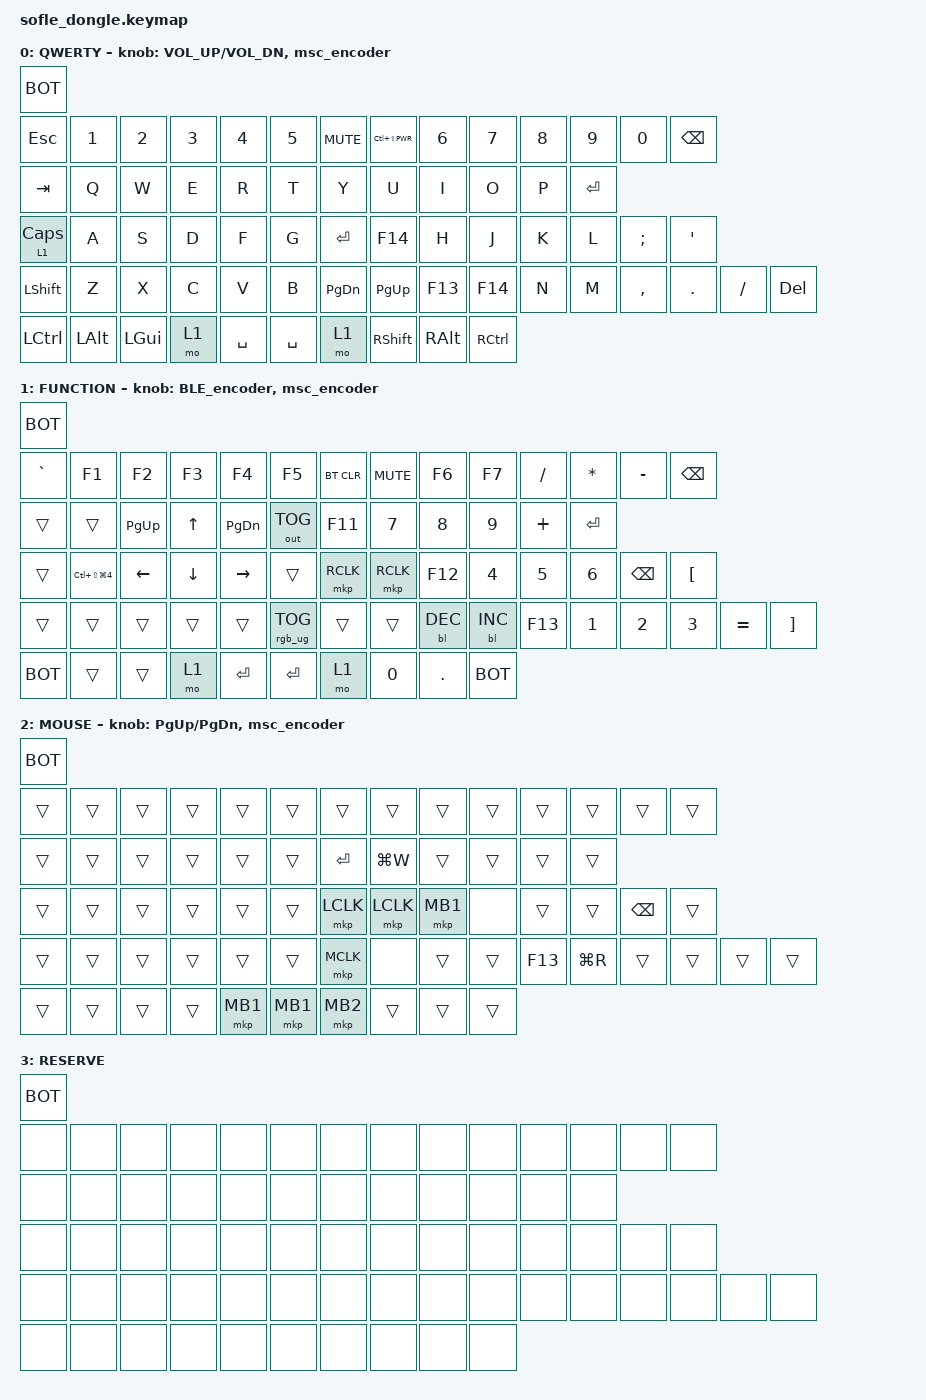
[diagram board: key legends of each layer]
/*
 * Copyright (c) 2025 ZitaoTech
 *
 * SPDX-License-Identifier: MIT
 */

#include <dt-bindings/zmk/mouse.h>
#include <behaviors.dtsi>
#include <dt-bindings/zmk/backlight.h>
#include <dt-bindings/zmk/bt.h>
#include <dt-bindings/zmk/keys.h>
#include <dt-bindings/zmk/outputs.h>
#include <dt-bindings/zmk/pointing.h>
#include <dt-bindings/zmk/rgb.h>

#define FUNC 1
#define RES 2
#define BOT bootloader

/ {
    /* 轨迹球方向键映射 */
    input_processors {
        compatible = "zmk,input-processors";
        bb_arrow_keys: bb_arrow_keys {
            compatible = "zmk,input-processor-behaviors";
            #input-processor-cells = <0>;
            codes = <INPUT_KEY_LEFT INPUT_KEY_RIGHT INPUT_KEY_UP INPUT_KEY_DOWN>;
            bindings =
                <&kp LEFT>,   /* INPUT_KEY_LEFT */
                <&kp RIGHT>,  /* INPUT_KEY_RIGHT */
                <&kp UP>,     /* INPUT_KEY_UP */
                <&kp DOWN>;   /* INPUT_KEY_DOWN */
        };
    };

    behaviors {
        td0: tap_dance_0 {
            compatible = "zmk,behavior-tap-dance";
            #binding-cells = <0>;
            tapping-term-ms = <400>;
            bindings = <&mkp LCLK>, <&bt BT_CLR>;
        };
    };

    behaviors {
        hm: homerow_mods {
            compatible = "zmk,behavior-hold-tap";
            #binding-cells = <2>;
            tapping-term-ms = <500>;
            bindings = <&kp &kp>;
        };
    };

    behaviors {
        sp_sc: behavior_spacescroll {
            compatible = "zmk,behavior-hold-tap";
            #binding-cells = <2>;
            flavor = "tap-preferred";     /* 单击优先 */
            tapping-term-ms = <200>;       /* 长按阈值 */
            bindings = <&none &kp>;        /* hold=none, tap=space */
        };
    };

    behaviors {
        BLE_encoder: BLE_encoder {
            compatible = "zmk,behavior-sensor-rotate";
            #sensor-binding-cells = <0>;
            bindings = <&bt BT_NXT>, <&bt BT_PRV>;
        };
    };

    /* 鼠标滚轮编码器行为 */

    behaviors {
        msc_encoder: msc_encoder {
            compatible = "zmk,behavior-sensor-rotate";
            #sensor-binding-cells = <0>;
            bindings = <&msc SCRL_DOWN>, <&msc SCRL_UP>;

            tap-ms = <30>;
        };
    };

    /* 长按切换到功能层，短按发送按键 */

    behaviors {
        lt: layer_tap {
            compatible = "zmk,behavior-hold-tap";
            #binding-cells = <2>;
            flavor = "balanced";           /* 平衡模式 */
            tapping-term-ms = <200>;        /* 200ms阈值 */
            quick-tap-ms = <100>;           /* 快速双击保护 */
            bindings = <&mo &kp>;           /* hold=切换层, tap=按键 */
        };
    };

    keymap {
        compatible = "zmk,keymap";

        default_layer {
            display-name = "QWERTY";
            bindings = <
&BOT
&kp ESC     &kp N1    &kp N2    &kp N3  &kp N4     &kp N5     &kp C_MUTE  &kp LC(LS(K_PWR))  &kp N6    &kp N7     &kp N8  &kp N9     &kp N0     &kp BSPC
&kp TAB     &kp Q     &kp W     &kp E   &kp R      &kp T      &kp Y       &kp U              &kp I     &kp O      &kp P   &kp ENTER
&lt 1 CAPS  &kp A     &kp S     &kp D   &kp F      &kp G      &kp ENTER   &kp F14            &kp H     &kp J      &kp K   &kp L      &kp SEMI   &kp SQT
&kp LSHFT   &kp Z     &kp X     &kp C   &kp V      &kp B      &kp PG_DN   &kp PG_UP          &kp F13   &kp F14    &kp N   &kp M      &kp COMMA  &kp DOT   &kp FSLH  &kp DEL
&kp LCTRL   &kp LALT  &kp LGUI  &mo 1   &kp SPACE  &kp SPACE  &mo 1       &kp RIGHT_SHIFT    &kp RALT  &kp RCTRL
            >;

            sensor-bindings = <&inc_dec_kp C_VOL_UP C_VOL_DN &msc_encoder>;
        };

        func_layer {
            display-name = "FUNCTION";
            bindings = <
&BOT
&kp GRAVE  &kp F1              &kp F2       &kp F3        &kp F4         &kp F5           &bt BT_CLR  &kp C_MUTE    &kp F6        &kp F7        &kp SLASH     &kp ASTERISK  &kp MINUS      &kp BSPC
&trans     &trans              &kp PAGE_UP  &kp UP_ARROW  &kp PAGE_DOWN  &out OUT_TOG     &kp F11     &kp NUMBER_7  &kp NUMBER_8  &kp NUMBER_9  &kp PLUS      &kp ENTER
&trans     &kp LC(LS(LG(N4)))  &kp LEFT     &kp DOWN      &kp RIGHT      &trans           &mkp RCLK   &mkp RCLK     &kp F12       &kp NUMBER_4  &kp NUMBER_5  &kp NUMBER_6  &kp BACKSPACE  &kp LEFT_BRACKET
&trans     &trans              &trans       &trans        &trans         &rgb_ug RGB_TOG  &trans      &trans        &bl BL_DEC    &bl BL_INC    &kp F13       &kp NUMBER_1  &kp NUMBER_2   &kp NUMBER_3      &kp EQUAL  &kp RIGHT_BRACKET
&BOT       &trans              &trans       &mo 1         &kp ENTER      &kp ENTER        &mo 1       &kp NUMBER_0  &kp DOT       &BOT
            >;

            sensor-bindings = <&BLE_encoder &msc_encoder>;
        };

        mouse_layer {
            display-name = "MOUSE";
            bindings = <
&BOT
&trans  &trans  &trans  &trans  &trans    &trans    &trans     &trans     &trans    &trans  &trans   &trans     &trans         &trans
&trans  &trans  &trans  &trans  &trans    &trans    &kp ENTER  &kp LG(W)  &trans    &trans  &trans   &trans
&trans  &trans  &trans  &trans  &trans    &trans    &mkp LCLK  &mkp LCLK  &mkp MB1  &none   &trans   &trans     &kp BACKSPACE  &trans
&trans  &trans  &trans  &trans  &trans    &trans    &mkp MCLK  &none      &trans    &trans  &kp F13  &kp LG(R)  &trans         &trans  &trans  &trans
&trans  &trans  &trans  &trans  &mkp MB1  &mkp MB1  &mkp MB2   &trans     &trans    &trans
            >;

            sensor-bindings = <&inc_dec_kp PG_UP PG_DN &msc_encoder>;
        };

        RES_layer {
            display-name = "RESERVE";
            bindings = <
&BOT
&none  &none  &none  &none  &none  &none  &none  &none  &none  &none  &none  &none  &none  &none
&none  &none  &none  &none  &none  &none  &none  &none  &none  &none  &none  &none
&none  &none  &none  &none  &none  &none  &none  &none  &none  &none  &none  &none  &none  &none
&none  &none  &none  &none  &none  &none  &none  &none  &none  &none  &none  &none  &none  &none  &none  &none
&none  &none  &none  &none  &none  &none  &none  &none  &none  &none
            >;
        };
    };
};
